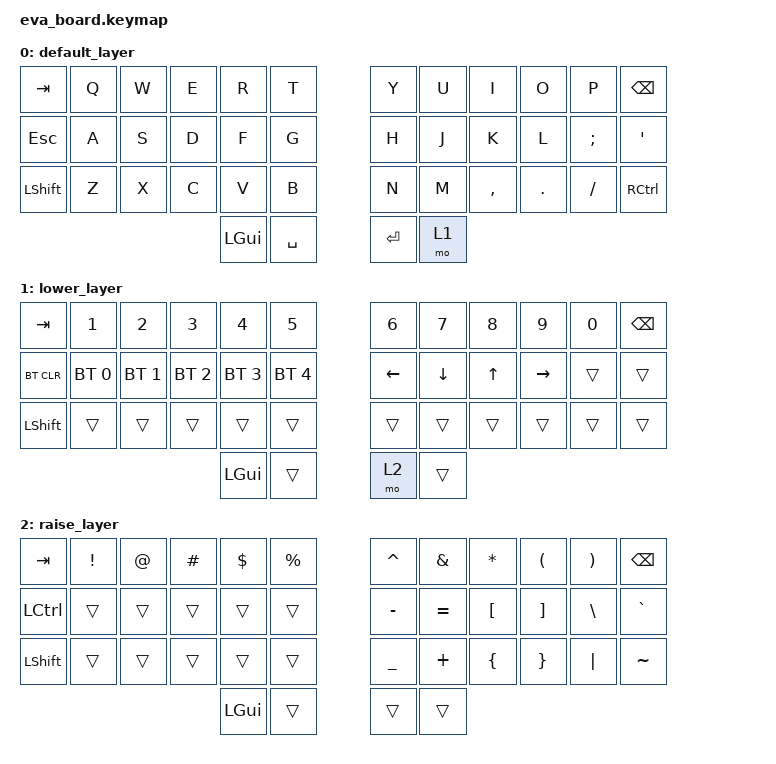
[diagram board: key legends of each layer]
#include <behaviors.dtsi>
#include <dt-bindings/zmk/keys.h>
#include <dt-bindings/zmk/bt.h>

/ {
    behaviors {
        td0: tap_dance_0 {
            compatible = "zmk,behavior-tap-dance";
            #binding-cells = <0>;
            tapping-term-ms = <200>;
            bindings = <&kp N1>, <&kp N2>, <&kp N3>;
        };
    };


        keymap {
                compatible = "zmk,keymap";

                default_layer {
// -----------------------------------------------------------------------------------------
// |  TAB |  Q  |  W  |  E  |  R  |  T  |   |  Y  |  U   |  I  |  O  |  P  | BSPC |
// |  ESC |  A  |  S  |  D  |  F  |  G  |   |  H  |  J   |  K  |  L  |  ;  |  '   |
// | SHFT |  Z  |  X  |  C  |  V  |  B  |   |  N  |  M   |  ,  |  .  |  /  | CTRL |
//                          | GUI | SPC |   | ENT | LWR  |
                        bindings = <
   &kp TAB   &kp Q &kp W &kp E &kp R &kp T      &kp Y &kp U  &kp I     &kp O   &kp P    &kp BSPC
   &kp ESC   &kp A &kp S &kp D &kp F &kp G      &kp H &kp J  &kp K     &kp L   &kp SEMI &kp SQT
   &kp LSHFT &kp Z &kp X &kp C &kp V &kp B      &kp N &kp M  &kp COMMA &kp DOT &kp FSLH &kp RCTRL
                        &kp LGUI &kp SPACE      &kp ENTER &mo 1
                        >;
                };
                lower_layer {
// -----------------------------------------------------------------------------------------
// |  TAB |  1  |  2  |  3  |  4  |  5  |   |  6  |  7  |  8  |  9  |  0  | BSPC |
// | BTCLR| BT1 | BT2 | BT3 | BT4 | BT5 |   | LFT | DWN |  UP | RGT |     |      |
// | SHFT |     |     |     |     |     |   |     |     |     |     |     |      |
//                    | GUI |     | SPC |   | ENT |     | ALT |
                        bindings = <
   &kp TAB    &kp N1       &kp N2       &kp N3       &kp N4       &kp N5         &kp N6   &kp N7   &kp N8 &kp N9    &kp N0 &kp BSPC
   &bt BT_CLR &bt BT_SEL 0 &bt BT_SEL 1 &bt BT_SEL 2 &bt BT_SEL 3 &bt BT_SEL 4   &kp LEFT &kp DOWN &kp UP &kp RIGHT &trans &trans
   &kp LSHFT  &trans       &trans       &trans       &trans       &trans         &trans   &trans   &trans &trans    &trans &trans
                                    &kp LGUI     &trans       &mo 2 &trans
                        >;
                };

                raise_layer {
// -----------------------------------------------------------------------------------------
// |  TAB |  !  |  @  |  #  |  $  |  %  |   |  ^  |  &  |  *  |  (  |  )  | BSPC |
// | CTRL |     |     |     |     |     |   |  -  |  =  |  [  |  ]  |  \  |  `   |
// | SHFT |     |     |     |     |     |   |  _  |  +  |  {  |  }  | "|" |  ~   |
//                    | GUI |     | SPC |   | ENT |     | ALT |
                        bindings = <
   &kp  TAB  &kp EXCL &kp AT &kp HASH &kp DLLR &kp PRCNT   &kp CARET &kp AMPS  &kp ASTRK &kp LPAR &kp RPAR &kp BSPC
   &kp LCTRL &trans   &trans &trans   &trans   &trans      &kp MINUS &kp EQUAL &kp LBKT  &kp RBKT &kp BSLH &kp GRAVE
   &kp LSHFT &trans   &trans &trans   &trans   &trans      &kp UNDER &kp PLUS  &kp LBRC  &kp RBRC &kp PIPE &kp TILDE
                             &kp LGUI &trans   &trans &trans 
                        >;
                };
        };
};
